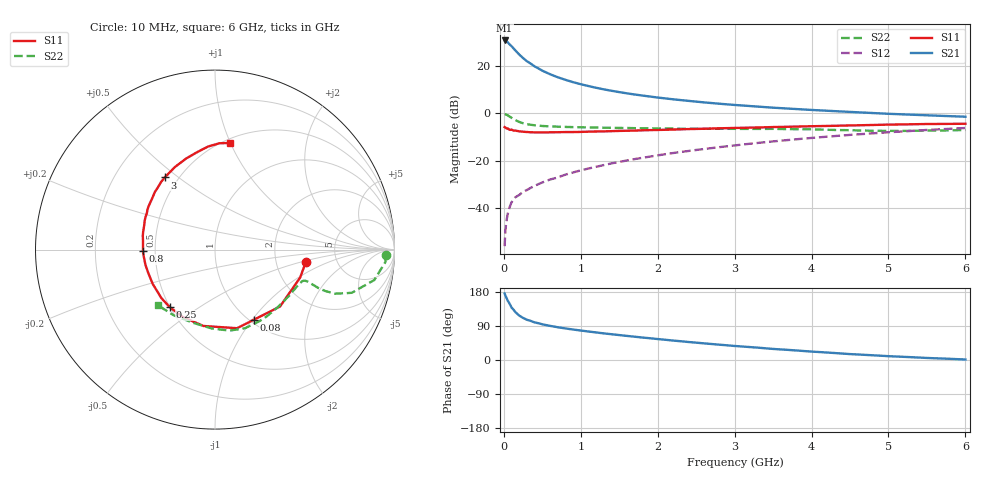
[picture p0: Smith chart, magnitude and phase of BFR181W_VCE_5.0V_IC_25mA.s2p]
! Infineon Technologies  Discrete & RF Semiconductors
! BFR181W
! VCE =  5.0 V,  IC =  25 mA
! Common Emitter S-Parameters:  Jan 2017
# GHz  S  MA  R  50
!  f  S11  S21  S12  S22
! GHz  MAG  ANG  MAG  ANG  MAG  ANG  MAG  ANG
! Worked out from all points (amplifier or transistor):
!   77 points, 10 MHz to 6 GHz, reference 50 ohm
!   highest |S21| = 30.6 dB at 10 MHz (marker M1)
!   |S21| within 3 dB of that: start of sweep to 116.7 MHz
!   unconditionally stable (mu >= 1): 465.7 MHz to 2.459 GHz
!   at 130 MHz: K = 0.51, MSG = 31.6 dB, |S12| = -36.1 dB
!   at 2.2 GHz: K = 1.04, MAG = 10.1 dB, |S12| = -16.7 dB
!   at 6 GHz: K = 0.86, MSG = 2.4 dB, |S12| = -6.2 dB
!   S11 on the Smith chart (normalised r, x): 10 MHz: 2.98, -0.54; 80 MHz: 1.05, -1.02; 250 MHz: 0.50, -0.38; 800 MHz: 0.43, -0.01; 3 GHz: 0.42, +0.45; 6 GHz: 0.54, +1.00
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0.01  0.5108 -7.6  33.87 175.5  0.0016 83.7  0.9512 -1.9
0.02  0.4995 -18.1  33.29 170.0  0.0034 89.5  0.9518 -4.2
0.05  0.4815 -41.2  31.04 156.7  0.0076 74.2  0.9038 -10.8
0.08  0.4468 -60.7  27.48 146.6  0.0111 68.2  0.8399 -14.6
0.1  0.4549 -74.3  25.7 138.4  0.0134 66.0  0.7997 -17.5
0.15  0.4303 -98.6  20.88 126.2  0.0171 62.3  0.7148 -20.1
0.2  0.4163 -115.4  17.15 117.3  0.0191 62.5  0.6556 -20.6
0.25  0.4078 -128.3  14.45 111.0  0.0223 61.9  0.6157 -20.4
0.3  0.4028 -137.9  12.4 106.2  0.0243 62.1  0.5882 -19.9
0.4  0.3962 -151.0  9.653 99.2  0.0297 65.5  0.5565 -19.2
0.5  0.394 -160.5  7.84 94.2  0.035 68.6  0.539 -19.0
0.6  0.3967 -167.6  6.614 90.1  0.0403 69.9  0.5287 -19.1
0.7  0.3984 -173.7  5.71 86.5  0.0445 72.6  0.521 -19.5
0.8  0.4015 -178.9  5.039 83.3  0.0511 73.7  0.5148 -20.3
1.1  0.4094 169.3  3.722 75.2  0.0687 76.0  0.503 -23.4
1.5  0.4242 157.3  2.778 65.8  0.0946 77.2  0.4897 -29.1
2.1  0.4484 142.5  2.047 53.4  0.1376 76.4  0.4761 -40.0
3  0.4898 124.9  1.492 37.0  0.2101 71.7  0.4689 -58.9
3.1  0.4931 123.0  1.453 35.6  0.2191 70.9  0.4677 -60.9
4.1  0.5359 106.0  1.149 21.0  0.3112 62.2  0.4532 -82.2
5.1  0.5787 92.5  0.958 9.2  0.4063 51.5  0.4245 -110.0
6  0.6 81.8  0.843 1.4  0.4891 40.9  0.4441 -135.6
